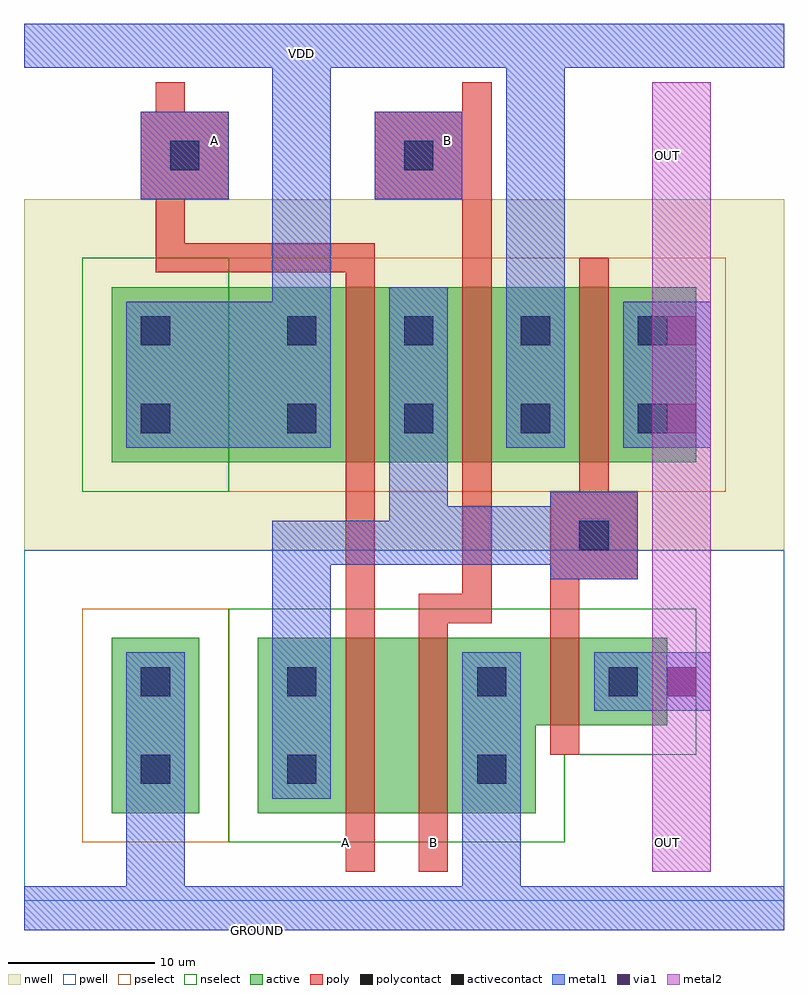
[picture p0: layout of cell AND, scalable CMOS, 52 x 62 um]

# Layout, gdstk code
import gdstk
lib = gdstk.Library(unit=1e-6, precision=1e-09)
def R(c, l, rs):  # rectangles x0, y0, x1, y1
    for r in rs: c.add(gdstk.rectangle(r[:2], r[2:], *l))
def A(c, l, x, y, w, h, nx, ny, dx, dy):  # array of equal rectangles
    R(c, l, [(x+i*dx, y+j*dy, x+i*dx+w, y+j*dy+h) for i in range(nx) for j in range(ny)])
def P(c, l, *ps):  # polygons
    for p in ps: c.add(gdstk.Polygon(p, *l))
pwell = (41, 0)
nwell = (42, 0)
active = (43, 0)
pselect = (44, 0)
nselect = (45, 0)
poly = (46, 0)
polycontact = (47, 0)
activecontact = (48, 0)
metal1 = (49, 0)
via1 = (50, 0)
metal2 = (51, 0)

and_ = lib.new_cell('AND')
R(and_, pwell, [(-56,-17,-4,7)])
R(and_, nwell, [(-56,7,-4,31)])
R(and_, active, [(-50,-11,-44,1), (-50,13,-10,25)])
P(and_, active, [(-40,-11),(-21,-11),(-21,-5),(-12,-5),(-12,1),(-40,1)])
R(and_, pselect, [(-52,-13,-42,3), (-42,11,-8,27)])
R(and_, nselect, [(-52,11,-42,27)])
P(and_, nselect, [(-42,-13),(-19,-13),(-19,-7),(-10,-7),(-10,3),(-42,3)])
P(and_, poly, [(-20,-7),(-18,-7),(-18,5),(-14,5),(-14,11),(-16,11),(-16,27),(-18,27),(-18,11),(-20,11)],
  [(-48,31),(-47,31),(-47,26),(-34,26),(-34,-15),(-32,-15),(-32,28),(-45,28),(-45,31),(-42,31),(-42,37),(-45,37),(-45,39),(-47,39),(-47,37),(-48,37)],
  [(-32,31),(-26,31),(-26,4),(-29,4),(-29,-15),(-27,-15),(-27,2),(-24,2),(-24,39),(-26,39),(-26,37),(-32,37)])
R(and_, polycontact, [(-18,7,-16,9), (-46,33,-44,35), (-30,33,-28,35)])
A(and_, activecontact, -38, 15, 2, 2, 4, 2, 8, 6)
R(and_, activecontact, [(-48,-9,-46,-7), (-38,-9,-36,-7), (-25,-9,-23,-7), (-48,-3,-46,-1), (-38,-3,-36,-1), (-25,-3,-23,-1), (-16,-3,-14,-1), (-48,15,-46,17), (-48,21,-46,23)])
R(and_, metal1, [(-17,-4,-9,0), (-15,14,-9,24), (-48,31,-42,37), (-32,31,-26,37)])
P(and_, metal1, [(-56,40),(-39,40),(-39,24),(-49,24),(-49,14),(-35,14),(-35,40),(-23,40),(-23,14),(-19,14),(-19,40),(-4,40),(-4,43),(-56,43)],
  [(-56,-19),(-4,-19),(-4,-16),(-22,-16),(-22,0),(-26,0),(-26,-16),(-45,-16),(-45,0),(-49,0),(-49,-16),(-56,-16)],
  [(-39,-10),(-35,-10),(-35,6),(-20,6),(-20,5),(-14,5),(-14,11),(-20,11),(-20,10),(-27,10),(-27,25),(-31,25),(-31,9),(-39,9)])
R(and_, via1, [(-12,-3,-10,-1), (-12,15,-10,17), (-12,21,-10,23)])
R(and_, metal2, [(-13,-15,-9,39)])
and_.add(gdstk.Label('B', (-28,-13), layer=46, texttype=0))
and_.add(gdstk.Label('OUT', (-12,-13), layer=46, texttype=0))
and_.add(gdstk.Label('A', (-34,-13), layer=46, texttype=0))
and_.add(gdstk.Label('VDD', (-37,41), layer=2, texttype=0))
and_.add(gdstk.Label('A', (-43,35), layer=2, texttype=0))
and_.add(gdstk.Label('B', (-27,35), layer=2, texttype=0))
and_.add(gdstk.Label('GROUND', (-40,-19), layer=2, texttype=0))
and_.add(gdstk.Label('OUT', (-12,34), layer=3, texttype=0))

lib.write_gds('AND.gds')
